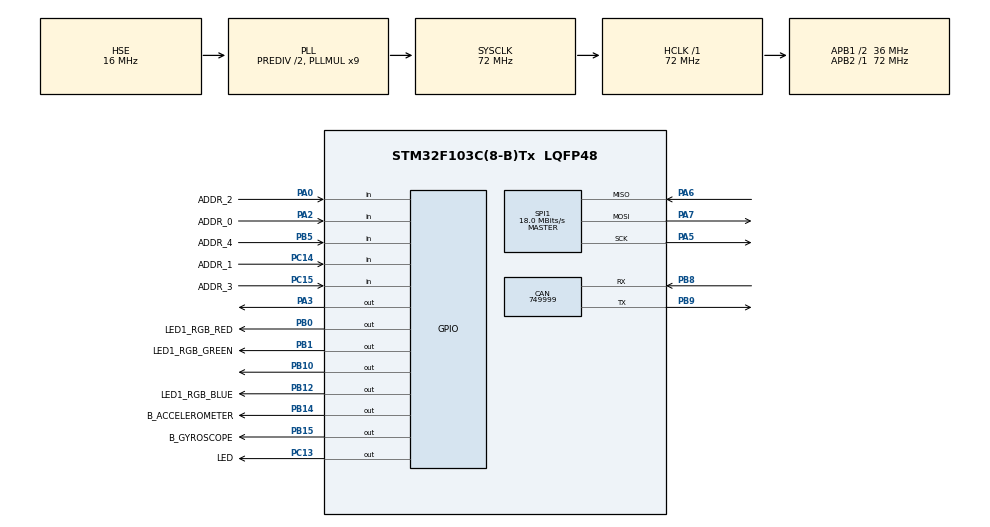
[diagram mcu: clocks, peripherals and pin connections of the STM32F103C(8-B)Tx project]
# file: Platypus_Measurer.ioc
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CAN.CalculateBaudRate=749999
CAN.CalculateTimeBit=1333
CAN.CalculateTimeQuantum=444.44444444444446
Mcu.Family=STM32F1
Mcu.Name=STM32F103C(8-B)Tx
Mcu.Package=LQFP48
NVIC.PriorityGroup=NVIC_PRIORITYGROUP_4
PA0-WKUP.GPIO_Label=ADDR_2
PA0-WKUP.Signal=GPIO_Input
PA13.Mode=Trace_Asynchronous_SW
PA13.Signal=SYS_JTMS-SWDIO
PA14.Mode=Trace_Asynchronous_SW
PA14.Signal=SYS_JTCK-SWCLK
PA2.GPIO_Label=ADDR_0
PA2.Signal=GPIO_Input
PA3.Signal=GPIO_Output
PA5.Mode=Full_Duplex_Master
PA5.Signal=SPI1_SCK
PA6.Mode=Full_Duplex_Master
PA6.Signal=SPI1_MISO
PA7.Mode=Full_Duplex_Master
PA7.Signal=SPI1_MOSI
PB0.GPIO_Label=LED1_RGB_RED
PB0.Signal=GPIO_Output
PB1.GPIO_Label=LED1_RGB_GREEN
PB1.Signal=GPIO_Output
PB10.PinState=GPIO_PIN_SET
PB10.Signal=GPIO_Output
PB12.GPIO_Label=LED1_RGB_BLUE
PB12.Signal=GPIO_Output
PB14.GPIO_Label=B_ACCELEROMETER
PB14.Signal=GPIO_Output
PB15.GPIO_Label=B_GYROSCOPE
PB15.Signal=GPIO_Output
PB3.Mode=Trace_Asynchronous_SW
PB3.Signal=SYS_JTDO-TRACESWO
PB5.GPIO_Label=ADDR_4
PB5.Signal=GPIO_Input
PB8.Mode=CAN_Activate
PB8.Signal=CAN_RX
PB9.Mode=CAN_Activate
PB9.Signal=CAN_TX
PC13-TAMPER-RTC.GPIO_Label=LED
PC13-TAMPER-RTC.Signal=GPIO_Output
PC14-OSC32_IN.GPIO_Label=ADDR_1
PC14-OSC32_IN.Signal=GPIO_Input
PC15-OSC32_OUT.GPIO_Label=ADDR_3
PC15-OSC32_OUT.Signal=GPIO_Input
PD0-OSC_IN.Mode=HSE-External-Oscillator
PD0-OSC_IN.Signal=RCC_OSC_IN
PD1-OSC_OUT.Mode=HSE-External-Oscillator
PD1-OSC_OUT.Signal=RCC_OSC_OUT
ProjectManager.HeapSize=0x200
ProjectManager.StackSize=0x400
ProjectManager.TargetToolchain=CMake
RCC.AHBFreq_Value=72000000
RCC.APB1CLKDivider=RCC_HCLK_DIV2
RCC.APB1Freq_Value=36000000
RCC.APB1TimFreq_Value=72000000
RCC.APB2Freq_Value=72000000
RCC.APB2TimFreq_Value=72000000
RCC.HCLKFreq_Value=72000000
RCC.HSEDivPLL=RCC_HSE_PREDIV_DIV2
RCC.HSE_VALUE=16000000
RCC.PLLMUL=RCC_PLL_MUL9
RCC.PLLSourceVirtual=RCC_PLLSOURCE_HSE
RCC.SYSCLKFreq_VALUE=72000000
RCC.SYSCLKSource=RCC_SYSCLKSOURCE_PLLCLK
RCC.USBFreq_Value=72000000
SPI1.BaudRatePrescaler=SPI_BAUDRATEPRESCALER_4
SPI1.CLKPhase=SPI_PHASE_1EDGE
SPI1.CLKPolarity=SPI_POLARITY_LOW
SPI1.CalculateBaudRate=18.0 MBits/s
SPI1.Direction=SPI_DIRECTION_2LINES
SPI1.Mode=SPI_MODE_MASTER
SPI1.VirtualType=VM_MASTER
board=custom

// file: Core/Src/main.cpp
/* USER CODE BEGIN Header */
/**
 ******************************************************************************
 * @file           : main.c
 * @brief          : Main program body
 ******************************************************************************
 * @attention
 *
 * Copyright (c) 2025 STMicroelectronics.
 * All rights reserved.
 *
 * This software is licensed under terms that can be found in the LICENSE file
 * in the root directory of this software component.
 * If no LICENSE file comes with this software, it is provided AS-IS.
 *
 ******************************************************************************
 */
/* USER CODE END Header */
#include "main.h"

/* USER CODE BEGIN Includes */
#include "CAN.h"
#include "Flags.h"
#include "Informator.h"
#include "Led.h"
#include "LedBase.h"
#include "LedRgb.h"
#include "stm32f1xx_hal.h"
#include "stm32f1xx_hal_def.h"
#include "stm32f1xx_hal_gpio.h"
#include <cstring>
/* USER CODE END Includes */

/* USER CODE BEGIN PD */
#define wait HAL_Delay
#define STATUS HAL_StatusTypeDef

#define ACCELEROMETER accelerometer();
#define ACC_CHIP_ID 0x00
#define ACC_RANGE 0x41
#define ACC_CONF 0x40
#define ACC_SELF_TEST 0x6D
#define ACC_POWER_CTL 0x7D
#define ACC_X_LSB 0x12
#define ACC_X_MSB 0x13
#define ACC_Y_LSB 0x14
#define ACC_Y_MSB 0x15
#define ACC_Z_LSB 0x16
#define ACC_Z_MSB 0x17
#define ACC_PWR_CONF 0x7C
#define ACC_SOFT_RESET 0x7E

#define GYROSCOPE gyroscope();
#define GYRO_CHIP_ID 0x00
#define GYRO_RANGE 0x0F
#define GYRO_BANDWIDTH 0x10
#define GYRO_LPM1 0x11
#define GYRO_SOFTRESET 0x14
#define GYRO_RATE_Z_MSB 0x07
#define GYRO_RATE_Z_LSB 0x06
#define GYRO_RATE_Y_MSB 0x05
#define GYRO_RATE_Y_LSB 0x04
#define GYRO_RATE_X_MSB 0x03
#define GYRO_RATE_X_LSB 0x02

#define ACCELEROMETER_FLAG 0xAA
#define GYROSCOPE_FLAG 0xBB
#define ERROR_FLAG 0xEE
#define READY_FLAG 0xFF

#define ACCELEROMETER_ON \
    HAL_GPIO_WritePin(B_ACCELEROMETER_GPIO_Port, B_ACCELEROMETER_Pin, GPIO_PIN_RESET);
#define ACCELEROMETER_OFF \
    HAL_GPIO_WritePin(B_ACCELEROMETER_GPIO_Port, B_ACCELEROMETER_Pin, GPIO_PIN_SET);

#define GYROSCOPE_ON \
    HAL_GPIO_WritePin(B_GYROSCOPE_GPIO_Port, B_GYROSCOPE_Pin, GPIO_PIN_RESET);
#define GYROSCOPE_OFF \
    HAL_GPIO_WritePin(B_GYROSCOPE_GPIO_Port, B_GYROSCOPE_Pin, GPIO_PIN_SET);

#define CLOSE_OTHER_CS                                  \
    HAL_GPIO_WritePin(GPIOA, GPIO_PIN_3, GPIO_PIN_SET); \
    HAL_GPIO_WritePin(GPIOB, GPIO_PIN_10, GPIO_PIN_SET);

#define STOP stop();
/* USER CODE END PD */

CAN_HandleTypeDef hcan;

SPI_HandleTypeDef hspi1;

void SystemClock_Config(void);
static void MX_GPIO_Init(void);
static void MX_SPI1_Init(void);
static void MX_CAN_Init(void);
/* USER CODE BEGIN PFP */

LED *can_led = nullptr;
LED_RGB *led = nullptr;
CAN *pcan = nullptr;
Informator *pInformator_can = nullptr;
Informator *pInformator_led = nullptr;

volatile bool informatorTick = false;

void Error_Stop() {
    uint8_t data[1] = { ERROR_FLAG };
    pcan->SendMessage(data, 1);
    led->setColor(Color::RED);
    Error_Handler();
}

void accelerometer() {
    ACCELEROMETER_ON;
    GYROSCOPE_OFF;
}

void gyroscope() {
    ACCELEROMETER_OFF;
    GYROSCOPE_ON;
}

void stop() {
    ACCELEROMETER_OFF;
    GYROSCOPE_OFF;
}

STATUS writeToReg(uint8_t reg, uint8_t value) {
    uint8_t tx[2] = { reg, value };
    tx[0] &= 0x7F;
    STATUS status = HAL_OK;
    status = HAL_SPI_Transmit(&hspi1, tx, 2, 1000);
    STOP;

    return status;
}

uint8_t readFromReg(uint8_t reg) {
    uint8_t tx[2] = { (uint8_t)(reg | 0x80), 0 };
    uint8_t rx[2];
    HAL_SPI_TransmitReceive(&hspi1, tx, rx, 2, 1000);
    STOP;
    return rx[1];
}

STATUS readFromReg(uint8_t reg, uint8_t *data, size_t size) {
    STATUS status = HAL_OK;
    uint8_t tx[1 + size];
    tx[0] = (uint8_t)(reg | 0x80);
    for (size_t i = 1; i < size; i++) {
        tx[i] = 0;
    }
    uint8_t rx[1 + size];
    status = HAL_SPI_TransmitReceive(&hspi1, tx, rx, size + 1, 1000);
    STOP;
    memcpy(data, rx + 1, size);

    return status;
}

STATUS writeToReg_Acc(uint8_t reg, uint8_t value) {
    ACCELEROMETER;
    return writeToReg(reg, value);
}

uint8_t readFromReg_Acc(uint8_t reg) {
    ACCELEROMETER;
    uint8_t val = readFromReg(reg);
    return val;
}

STATUS readFromReg_Acc(uint8_t reg, uint8_t *data, size_t size) {
    ACCELEROMETER;
    return readFromReg(reg, data, size);
}

void accelerometerOn() {
    STATUS status = HAL_OK;

    status = writeToReg_Acc(ACC_SOFT_RESET, 0xB6);

    wait(100);

    status = writeToReg_Acc(ACC_PWR_CONF, 0x00);
    status = writeToReg_Acc(ACC_POWER_CTL, 0x04);

    wait(100);

    if (status != HAL_OK)
        Error_Stop();
}

bool accelerometerBIT() {
    STATUS status = HAL_OK;
    //+-24g
    status = writeToReg_Acc(ACC_RANGE, 0x03);
    if (status != HAL_OK)
        Error_Stop();

    uint8_t range = readFromReg_Acc(ACC_RANGE);
    if (range != 0x03)
        Error_Stop();

    // 1.6khz
    status = writeToReg_Acc(ACC_CONF, 0xA7);
    if (status != HAL_OK)
        Error_Stop();

    wait(2);

    // self test polarity +
    status = writeToReg_Acc(ACC_SELF_TEST, 0x0D);
    if (status != HAL_OK)
        Error_Stop();

    wait(50);
    uint8_t positive[6] = { 0 };
    uint8_t pRange = 0;
    uint8_t negative[6] = { 0 };
    uint8_t nRange = 0;

    status = readFromReg_Acc(ACC_X_LSB, positive, 6);
    if (status != HAL_OK)
        Error_Stop();
    // HAL_SPI_TransmitReceive(&hspi1, &tx, positive, 6, 1000);

    pRange = readFromReg_Acc(ACC_RANGE);
    if (pRange != 0x03)
        Error_Stop();

    // self test polarity -
    status = writeToReg_Acc(ACC_SELF_TEST, 0x09);
    if (status != HAL_OK)
        Error_Stop();

    wait(50);

    status = readFromReg_Acc(ACC_X_LSB, negative, 6);
    if (status != HAL_OK)
        Error_Stop();
    // HAL_SPI_TransmitReceive(&hspi1, &tx, negative, 6, 1000);

    nRange = readFromReg_Acc(ACC_RANGE);
    if (nRange != 0x03)
        Error_Stop();

    // disable self test
    status = writeToReg_Acc(ACC_SELF_TEST, 0x00);
    if (status != HAL_OK)
        Error_Stop();

    int16_t pAccel_16[3] = {
        (int16_t)((positive[1] << 8) | positive[0]),
        (int16_t)((positive[3] << 8) | positive[2]),
        (int16_t)((positive[5] << 8) | positive[4]),
    };

    int16_t nAccel_16[3] = {
        (int16_t)((negative[1] << 8) | negative[0]),
        (int16_t)((negative[3] << 8) | negative[2]),
        (int16_t)((negative[5] << 8) | negative[4]),
    };

    float pAccel[3] = {
        (float)pAccel_16[0] / 32768.0f * 1000.0f * (1 << (pRange + 1)),
        (float)pAccel_16[1] / 32768.0f * 1000.0f * (1 << (pRange + 1)),
        (float)pAccel_16[2] / 32768.0f * 1000.0f * (1 << (pRange + 1)),
    };

    float nAccel[3] = {
        (float)nAccel_16[0] / 32768.0f * 1000.0f * (1 << (nRange + 1)),
        (float)nAccel_16[1] / 32768.0f * 1000.0f * (1 << (nRange + 1)),
        (float)nAccel_16[2] / 32768.0f * 1000.0f * (1 << (nRange + 1)),
    };

    bool res = true;

    if (pAccel[0] - nAccel[0] < 1000 || pAccel[1] - nAccel[1] < 1000 || pAccel[2] - nAccel[2] < 500) {
        res = false;
    }

    wait(50);

    led->Off();

    return res;
}

STATUS writeToReg_Gyro(uint8_t reg, uint8_t value) {
    GYROSCOPE;
    return writeToReg(reg, value);
}

uint8_t readFromReg_Gyro(uint8_t reg) {
    GYROSCOPE;
    uint8_t val = readFromReg(reg);
    return val;
}

STATUS readFromReg_Gyro(uint8_t reg, uint8_t *data, size_t size) {
    GYROSCOPE;
    return readFromReg(reg, data, size);
}

STATUS getGyroData(uint8_t *data) {
    return readFromReg_Gyro(GYRO_RATE_X_LSB, data, 6);
}

STATUS getAccData(uint8_t *data) {
    return readFromReg_Acc(ACC_X_LSB, data, 6);
}

bool gyroscopeTest() {
    uint8_t data[6] = {};
    uint8_t chipID = readFromReg_Gyro(GYRO_CHIP_ID);

    readFromReg_Gyro(GYRO_RATE_X_LSB, data, 6);

    float x = (int16_t)((data[1] << 8) | data[0]) / 16.384f;
    float y = (int16_t)((data[3] << 8) | data[2]) / 16.384f;
    float z = (int16_t)((data[5] << 8) | data[4]) / 16.384f;

    if (chipID != 0x0F || (x == 0 && y == 0 && z == 0))
        return false;

    return true;
}

bool accelerometerTest() {
    led->setColor(Color::YELLOW);
    uint8_t data[6] = {};
    uint8_t _ = readFromReg_Acc(ACC_CHIP_ID);
    uint8_t chipID = readFromReg_Acc(ACC_CHIP_ID);
    // uint8_t pConf = readFromReg_Acc(ACC_PWR_CONF);

    STATUS status = readFromReg_Acc(ACC_X_LSB, data, 6);

    uint8_t error = readFromReg_Acc(0x02);

    int16_t x = (int16_t)((data[1] << 8) | data[0]);
    int16_t y = (int16_t)((data[3] << 8) | data[2]);
    int16_t z = (int16_t)((data[5] << 8) | data[4]);

    uint8_t error_code = (error >> 2) & 0b111;
    uint8_t fatal_code = error & 0b1;

    // if (chipID != 0x1E || error_code != 0 || fatal_code != 0)
    if (chipID != 0x1E || status != HAL_OK)
        return false;

    led->setColor(Color::GREEN);
    wait(50);
    led->setColor(Color::OFF);
    return true;
}

/* USER CODE END PFP */

/* USER CODE BEGIN 0 */

bool isPinSet(GPIO_TypeDef *port, uint16_t pin) {
    return HAL_GPIO_ReadPin(port, pin);
}

class Measurer {
    private:
        CAN *can;
        uint32_t clock = 0;
        uint32_t slice = 30;

        uint32_t lastSend = 0;

    public:
        Measurer() {
        }

        void init(CAN *can) {
            this->can = can;
        }

        uint32_t &getClock() {
            return clock;
        }

        uint8_t readAddr() {
            const bool addr[5] = {
                !isPinSet(ADDR_0_GPIO_Port, ADDR_0_Pin),
                !isPinSet(ADDR_1_GPIO_Port, ADDR_1_Pin),
                !isPinSet(ADDR_2_GPIO_Port, ADDR_2_Pin),
                !isPinSet(ADDR_3_GPIO_Port, ADDR_3_Pin),
                !isPinSet(ADDR_4_GPIO_Port, ADDR_4_Pin),
            };

            return (addr[0] << 0) | (addr[1] << 1) | (addr[2] << 2) | (addr[3] << 3) | (addr[4] << 4);
        }

        void sendData() {
            uint8_t accel[7] = { ACCELEROMETER_FLAG, 0 };
            uint8_t gyro[7] = { GYROSCOPE_FLAG, 0 };

            getAccData(accel + 1);
            getGyroData(gyro + 1);

            can->SendMessage(accel, 7);
            wait(10);
            can->SendMessage(gyro, 7);
            // pushSuccess(pInformator_led);
        }

        void tick() {
            clock = HAL_GetTick();

            if (clock - lastSend >= slice) {
                // pushInfo(pInformator_can);
                sendData();
                lastSend = clock;
            }
        }

        void selfTest() {
            if (!gyroscopeTest() || !accelerometerTest())
                Error_Stop();

            STATUS status = writeToReg_Acc(ACC_CONF, 0b10011000); // normal 100hz
            if (status != HAL_OK)
                Error_Stop();

            uint8_t data[1] = { READY_FLAG };
            can->SendMessage(data, 1);
        }
};

void tester() {
}

void HAL_CAN_RxFifo0MsgPendingCallback(CAN_HandleTypeDef *hcan) {
    if (HAL_CAN_GetRxFifoFillLevel(hcan, CAN_RX_FIFO0) == 0)
        return;

    pushError(pInformator_led);
}

/* USER CODE END 0 */

int main(void) {

    /* MCU Configuration--------------------------------------------------------*/

    /* Reset of all peripherals, Initializes the Flash interface and the Systick. */
    HAL_Init();

    /* Configure the system clock */
    SystemClock_Config();

    /* Initialize all configured peripherals */
    MX_GPIO_Init();
    MX_SPI1_Init();
    MX_CAN_Init();
    /* USER CODE BEGIN 2 */

    CLOSE_OTHER_CS;

    LED_Color_Data led_data = {
        .GPIO_Port = LED_GPIO_Port,
        .GPIO_Pin = LED_Pin
    };

    LED_RGB_Data LED1_RGB_Data = {
        {
            .GPIO_Port = LED1_RGB_RED_GPIO_Port,
            .GPIO_Pin = LED1_RGB_RED_Pin,
        },
        {
            .GPIO_Port = LED1_RGB_GREEN_GPIO_Port,
            .GPIO_Pin = LED1_RGB_GREEN_Pin,
        },
        {
            .GPIO_Port = LED1_RGB_BLUE_GPIO_Port,
            .GPIO_Pin = LED1_RGB_BLUE_Pin,
        },
    };

    Measurer measurer;

    LED CAN_LED(led_data);
    can_led = &CAN_LED;

    LED_RGB Led1(LED1_RGB_Data);
    led = &Led1;
    led->setColor(Color::MAGENTA);

    Informator Informator_can(can_led);
    Informator Informator_led(led);

    pInformator_can = &Informator_can;
    pInformator_led = &Informator_led;

    STATUS status = HAL_OK;
    status = writeToReg_Gyro(GYRO_SOFTRESET, 0xB6);
    wait(100);
    status = writeToReg_Gyro(GYRO_RANGE, 0x01);
    status = writeToReg_Gyro(GYRO_BANDWIDTH, 0x02);
    status = writeToReg_Gyro(GYRO_LPM1, 0x00);

    if (status != HAL_OK)
        Error_Stop();

    /* USER CODE END 2 */

    /* Infinite loop */
    /* USER CODE BEGIN WHILE */

    CAN_Init can_data = {
        .hcan = &hcan,
        .id = measurer.readAddr(),
        .led = led
    };

    CAN can(can_data);
    pcan = &can;

    measurer.init(&can);

    accelerometerOn();

    measurer.selfTest();

    while (1) {
        if (informatorTick) {
            measurer.tick();

            Informator_can.inform(measurer.getClock());
            Informator_led.inform(measurer.getClock());
        }

        /* USER CODE END WHILE */

    }
}

void SystemClock_Config(void) {
    RCC_OscInitTypeDef RCC_OscInitStruct = { 0 };
    RCC_ClkInitTypeDef RCC_ClkInitStruct = { 0 };

    /** Initializes the RCC Oscillators according to the specified parameters
     * in the RCC_OscInitTypeDef structure.
     */
    RCC_OscInitStruct.OscillatorType = RCC_OSCILLATORTYPE_HSE;
    RCC_OscInitStruct.HSEState = RCC_HSE_ON;
    RCC_OscInitStruct.HSEPredivValue = RCC_HSE_PREDIV_DIV2;
    RCC_OscInitStruct.HSIState = RCC_HSI_ON;
    RCC_OscInitStruct.PLL.PLLState = RCC_PLL_ON;
    RCC_OscInitStruct.PLL.PLLSource = RCC_PLLSOURCE_HSE;
    RCC_OscInitStruct.PLL.PLLMUL = RCC_PLL_MUL9;
    if (HAL_RCC_OscConfig(&RCC_OscInitStruct) != HAL_OK) {
        Error_Handler();
    }

    /** Initializes the CPU, AHB and APB buses clocks
     */
    RCC_ClkInitStruct.ClockType = RCC_CLOCKTYPE_HCLK | RCC_CLOCKTYPE_SYSCLK | RCC_CLOCKTYPE_PCLK1 | RCC_CLOCKTYPE_PCLK2;
    RCC_ClkInitStruct.SYSCLKSource = RCC_SYSCLKSOURCE_PLLCLK;
    RCC_ClkInitStruct.AHBCLKDivider = RCC_SYSCLK_DIV1;
    RCC_ClkInitStruct.APB1CLKDivider = RCC_HCLK_DIV2;
    RCC_ClkInitStruct.APB2CLKDivider = RCC_HCLK_DIV1;

    if (HAL_RCC_ClockConfig(&RCC_ClkInitStruct, FLASH_LATENCY_2) != HAL_OK) {
        Error_Handler();
    }
}

static void MX_CAN_Init(void) {

    hcan.Instance = CAN1;
    hcan.Init.Prescaler = 6;
    hcan.Init.Mode = CAN_MODE_NORMAL;
    hcan.Init.SyncJumpWidth = CAN_SJW_1TQ;
    hcan.Init.TimeSeg1 = CAN_BS1_10TQ;
    hcan.Init.TimeSeg2 = CAN_BS2_3TQ;
    hcan.Init.TimeTriggeredMode = DISABLE;
    hcan.Init.AutoBusOff = DISABLE;
    hcan.Init.AutoWakeUp = DISABLE;
    hcan.Init.AutoRetransmission = DISABLE;
    hcan.Init.ReceiveFifoLocked = DISABLE;
    hcan.Init.TransmitFifoPriority = DISABLE;
    if (HAL_CAN_Init(&hcan) != HAL_OK) {
        Error_Handler();
    }
    /* USER CODE BEGIN CAN_Init 2 */

    CAN_FilterTypeDef filterConfig;
    filterConfig.FilterBank = 0;
    filterConfig.FilterMode = CAN_FILTERMODE_IDMASK;
    filterConfig.FilterScale = CAN_FILTERSCALE_32BIT;
    filterConfig.FilterIdHigh = 0x0000;
    filterConfig.FilterIdLow = 0x0000;
    filterConfig.FilterMaskIdHigh = 0x0000;
    filterConfig.FilterMaskIdLow = 0x0000;
    filterConfig.FilterFIFOAssignment = CAN_RX_FIFO0;
    filterConfig.FilterActivation = ENABLE;

    HAL_CAN_ConfigFilter(&hcan, &filterConfig);
    /* USER CODE END CAN_Init 2 */
}

static void MX_SPI1_Init(void) {

    /* SPI1 parameter configuration*/
    hspi1.Instance = SPI1;
    hspi1.Init.Mode = SPI_MODE_MASTER;
    hspi1.Init.Direction = SPI_DIRECTION_2LINES;
    hspi1.Init.DataSize = SPI_DATASIZE_8BIT;
    hspi1.Init.CLKPolarity = SPI_POLARITY_LOW;
    hspi1.Init.CLKPhase = SPI_PHASE_1EDGE;
    hspi1.Init.NSS = SPI_NSS_SOFT;
    hspi1.Init.BaudRatePrescaler = SPI_BAUDRATEPRESCALER_16;
    hspi1.Init.FirstBit = SPI_FIRSTBIT_MSB;
    hspi1.Init.TIMode = SPI_TIMODE_DISABLE;
    hspi1.Init.CRCCalculation = SPI_CRCCALCULATION_DISABLE;
    hspi1.Init.CRCPolynomial = 10;
    if (HAL_SPI_Init(&hspi1) != HAL_OK) {
        Error_Handler();
    }
}

static void MX_GPIO_Init(void) {
    GPIO_InitTypeDef GPIO_InitStruct = { 0 };

    /* GPIO Ports Clock Enable */
    __HAL_RCC_GPIOC_CLK_ENABLE();
    __HAL_RCC_GPIOD_CLK_ENABLE();
    __HAL_RCC_GPIOA_CLK_ENABLE();
    __HAL_RCC_GPIOB_CLK_ENABLE();

    /*Configure GPIO pin Output Level */
    HAL_GPIO_WritePin(LED_GPIO_Port, LED_Pin, GPIO_PIN_RESET);

    /*Configure GPIO pin Output Level */
    HAL_GPIO_WritePin(GPIOA, GPIO_PIN_3, GPIO_PIN_RESET);

    /*Configure GPIO pin Output Level */
    HAL_GPIO_WritePin(GPIOB, LED1_RGB_RED_Pin | LED1_RGB_GREEN_Pin | LED1_RGB_BLUE_Pin | B_ACCELEROMETER_Pin | B_GYROSCOPE_Pin, GPIO_PIN_RESET);

    /*Configure GPIO pin Output Level */
    HAL_GPIO_WritePin(GPIOB, GPIO_PIN_10, GPIO_PIN_SET);

    /*Configure GPIO pin : LED_Pin */
    GPIO_InitStruct.Pin = LED_Pin;
    GPIO_InitStruct.Mode = GPIO_MODE_OUTPUT_PP;
    GPIO_InitStruct.Pull = GPIO_NOPULL;
    GPIO_InitStruct.Speed = GPIO_SPEED_FREQ_LOW;
    HAL_GPIO_Init(LED_GPIO_Port, &GPIO_InitStruct);

    /*Configure GPIO pins : ADDR_1_Pin ADDR_3_Pin */
    GPIO_InitStruct.Pin = ADDR_1_Pin | ADDR_3_Pin;
    GPIO_InitStruct.Mode = GPIO_MODE_INPUT;
    GPIO_InitStruct.Pull = GPIO_NOPULL;
    HAL_GPIO_Init(GPIOC, &GPIO_InitStruct);

    /*Configure GPIO pins : ADDR_2_Pin ADDR_0_Pin */
    GPIO_InitStruct.Pin = ADDR_2_Pin | ADDR_0_Pin;
    GPIO_InitStruct.Mode = GPIO_MODE_INPUT;
    GPIO_InitStruct.Pull = GPIO_NOPULL;
    HAL_GPIO_Init(GPIOA, &GPIO_InitStruct);

    /*Configure GPIO pin : PA3 */
    GPIO_InitStruct.Pin = GPIO_PIN_3;
    GPIO_InitStruct.Mode = GPIO_MODE_OUTPUT_PP;
    GPIO_InitStruct.Pull = GPIO_NOPULL;
    GPIO_InitStruct.Speed = GPIO_SPEED_FREQ_LOW;
    HAL_GPIO_Init(GPIOA, &GPIO_InitStruct);

    /*Configure GPIO pins : LED1_RGB_RED_Pin LED1_RGB_GREEN_Pin PB10 LED1_RGB_BLUE_Pin
                             B_ACCELEROMETER_Pin B_GYROSCOPE_Pin */
    GPIO_InitStruct.Pin = LED1_RGB_RED_Pin | LED1_RGB_GREEN_Pin | GPIO_PIN_10 | LED1_RGB_BLUE_Pin | B_ACCELEROMETER_Pin | B_GYROSCOPE_Pin;
    GPIO_InitStruct.Mode = GPIO_MODE_OUTPUT_PP;
    GPIO_InitStruct.Pull = GPIO_NOPULL;
    GPIO_InitStruct.Speed = GPIO_SPEED_FREQ_LOW;
    HAL_GPIO_Init(GPIOB, &GPIO_InitStruct);

    /*Configure GPIO pin : ADDR_4_Pin */
    GPIO_InitStruct.Pin = ADDR_4_Pin;
    GPIO_InitStruct.Mode = GPIO_MODE_INPUT;
    GPIO_InitStruct.Pull = GPIO_NOPULL;
    HAL_GPIO_Init(ADDR_4_GPIO_Port, &GPIO_InitStruct);

}

void Error_Handler(void) {
    __disable_irq();
    while (1) {
    }
}
